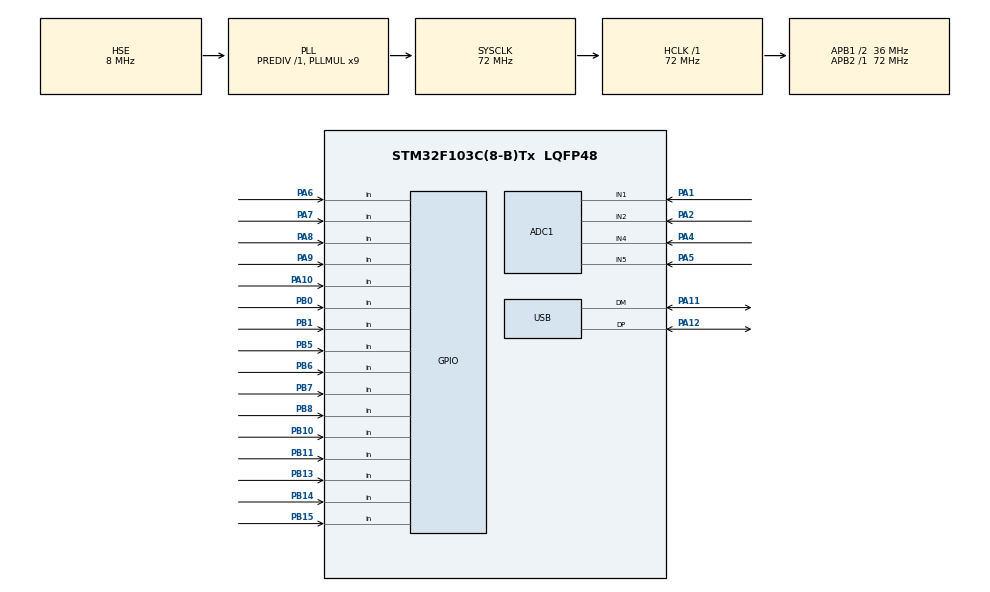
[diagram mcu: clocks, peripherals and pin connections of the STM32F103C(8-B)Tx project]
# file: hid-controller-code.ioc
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ADC1.Channel-0\#ChannelRegularConversion=ADC_CHANNEL_1
ADC1.Channel-1\#ChannelRegularConversion=ADC_CHANNEL_2
ADC1.Channel-2\#ChannelRegularConversion=ADC_CHANNEL_4
ADC1.Channel-3\#ChannelRegularConversion=ADC_CHANNEL_5
ADC1.ContinuousConvMode=ENABLE
ADC1.NbrOfConversion=4
ADC1.NbrOfConversionFlag=1
ADC1.Rank-0\#ChannelRegularConversion=1
ADC1.Rank-1\#ChannelRegularConversion=2
ADC1.Rank-2\#ChannelRegularConversion=3
ADC1.Rank-3\#ChannelRegularConversion=4
ADC1.SamplingTime-0\#ChannelRegularConversion=ADC_SAMPLETIME_13CYCLES_5
ADC1.SamplingTime-1\#ChannelRegularConversion=ADC_SAMPLETIME_13CYCLES_5
ADC1.SamplingTime-2\#ChannelRegularConversion=ADC_SAMPLETIME_13CYCLES_5
ADC1.SamplingTime-3\#ChannelRegularConversion=ADC_SAMPLETIME_13CYCLES_5
ADC1.master=1
Dma.ADC1.0.Direction=DMA_PERIPH_TO_MEMORY
Dma.ADC1.0.Instance=DMA1_Channel1
Dma.ADC1.0.MemDataAlignment=DMA_MDATAALIGN_HALFWORD
Dma.ADC1.0.MemInc=DMA_MINC_ENABLE
Dma.ADC1.0.Mode=DMA_CIRCULAR
Dma.ADC1.0.PeriphDataAlignment=DMA_PDATAALIGN_HALFWORD
Dma.ADC1.0.PeriphInc=DMA_PINC_DISABLE
Dma.ADC1.0.Priority=DMA_PRIORITY_LOW
Dma.Request0=ADC1
Mcu.Family=STM32F1
Mcu.Name=STM32F103C(8-B)Tx
Mcu.Package=LQFP48
NVIC.DMA1_Channel1_IRQn=true\:0\:0\:false\:false\:true\:false\:true\:true
NVIC.PriorityGroup=NVIC_PRIORITYGROUP_4
NVIC.USB_LP_CAN1_RX0_IRQn=true\:0\:0\:false\:false\:true\:false\:true\:true
PA1.Signal=ADCx_IN1
PA10.Signal=GPIO_Input
PA11.Mode=Device
PA11.Signal=USB_DM
PA12.Mode=Device
PA12.Signal=USB_DP
PA13.Mode=Serial_Wire
PA13.Signal=SYS_JTMS-SWDIO
PA14.Mode=Serial_Wire
PA14.Signal=SYS_JTCK-SWCLK
PA2.Signal=ADCx_IN2
PA4.Signal=ADCx_IN4
PA5.Signal=ADCx_IN5
PA6.GPIO_PuPd=GPIO_PULLDOWN
PA6.Signal=GPIO_Input
PA7.Signal=GPIO_Input
PA8.GPIO_PuPd=GPIO_NOPULL
PA8.Signal=GPIO_Input
PA9.GPIO_PuPd=GPIO_NOPULL
PA9.Signal=GPIO_Input
PB0.Signal=GPIO_Input
PB1.Signal=GPIO_Input
PB10.Signal=GPIO_Input
PB11.Signal=GPIO_Input
PB13.Signal=GPIO_Input
PB14.GPIO_PuPd=GPIO_NOPULL
PB14.Signal=GPIO_Input
PB15.Signal=GPIO_Input
PB5.Signal=GPIO_Input
PB6.Signal=GPIO_Input
PB7.Signal=GPIO_Input
PB8.GPIO_PuPd=GPIO_PULLDOWN
PB8.Signal=GPIO_Input
PC14-OSC32_IN.Mode=LSE-External-Oscillator
PC14-OSC32_IN.Signal=RCC_OSC32_IN
PC15-OSC32_OUT.Mode=LSE-External-Oscillator
PC15-OSC32_OUT.Signal=RCC_OSC32_OUT
PD0-OSC_IN.Mode=HSE-External-Oscillator
PD0-OSC_IN.Signal=RCC_OSC_IN
PD1-OSC_OUT.Mode=HSE-External-Oscillator
PD1-OSC_OUT.Signal=RCC_OSC_OUT
ProjectManager.HeapSize=0x200
ProjectManager.StackSize=0x400
ProjectManager.TargetToolchain=Makefile
RCC.ADCPresc=RCC_ADCPCLK2_DIV6
RCC.AHBFreq_Value=72000000
RCC.APB1CLKDivider=RCC_HCLK_DIV2
RCC.APB1Freq_Value=36000000
RCC.APB1TimFreq_Value=72000000
RCC.APB2Freq_Value=72000000
RCC.APB2TimFreq_Value=72000000
RCC.EnbaleCSS=true
RCC.HCLKFreq_Value=72000000
RCC.PLLMUL=RCC_PLL_MUL9
RCC.SYSCLKFreq_VALUE=72000000
RCC.SYSCLKSource=RCC_SYSCLKSOURCE_PLLCLK
RCC.USBFreq_Value=48000000
RCC.USBPrescaler=RCC_USBCLKSOURCE_PLL_DIV1_5
SH.ADCx_IN1.0=ADC1_IN1,IN1
SH.ADCx_IN2.0=ADC1_IN2,IN2
SH.ADCx_IN4.0=ADC1_IN4,IN4
SH.ADCx_IN5.0=ADC1_IN5,IN5
USB_DEVICE.CLASS_NAME_FS=CUSTOM_HID
USB_DEVICE.CUSTOM_HID_FS_BINTERVAL=0x1
USB_DEVICE.VirtualMode=CustomHid
USB_DEVICE.VirtualModeFS=Custom_Hid_FS
VP_RTC_VS_RTC_Activate.Mode=RTC_Enabled
VP_TIM2_VS_ClockSourceINT.Mode=Internal
VP_USB_DEVICE_VS_USB_DEVICE_CUSTOM_HID_FS.Mode=CUSTOM_HID_FS
board=custom

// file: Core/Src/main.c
/* USER CODE BEGIN Header */
/**
  ******************************************************************************
  * @file           : main.c
  * @brief          : Main program body
  ******************************************************************************
  * @attention
  *
  * Copyright (c) 2026 STMicroelectronics.
  * All rights reserved.
  *
  * This software is licensed under terms that can be found in the LICENSE file
  * in the root directory of this software component.
  * If no LICENSE file comes with this software, it is provided AS-IS.
  *
  ******************************************************************************
  */
/* USER CODE END Header */
#include "main.h"
#include "usb_device.h"

/* USER CODE BEGIN Includes */
#include "usbd_customhid.h"
#include "usbd_custom_hid_if.h"
/* USER CODE END Includes */

/* USER CODE BEGIN PTD */
/* Must match the HID report descriptor in usbd_custom_hid_if.c byte for byte. */
typedef struct __attribute__((packed))
{
  uint8_t  x;        /* left  stick X */
  uint8_t  y;        /* left  stick Y */
  uint8_t  lt;        /* triggers, 128 = centred, LT -> 0, RT -> 255 */
  uint8_t  rx;       /* right stick X */
  uint8_t  ry;       /* right stick Y */
  uint8_t  rt;
  uint8_t  hat;      /* d-pad, 8 = centred */
  uint16_t buttons;  /* bit 0..9 = button 1..10 */
} gamepad_report_t;
/* USER CODE END PTD */

/* USER CODE BEGIN PD */
#define JOYSTICK_OVERSAMPLE_BITS 4
#define JOYSTICK_OVERSAMPLE (1U << JOYSTICK_OVERSAMPLE_BITS)
/* USER CODE END PD */

ADC_HandleTypeDef hadc1;
DMA_HandleTypeDef hdma_adc1;

RTC_HandleTypeDef hrtc;

TIM_HandleTypeDef htim2;

/* USER CODE BEGIN PV */
static gamepad_report_t gamepad_report;
static volatile uint16_t joystick_buf[4 * JOYSTICK_OVERSAMPLE] = {0};
/* USER CODE END PV */

void SystemClock_Config(void);
static void MX_GPIO_Init(void);
static void MX_DMA_Init(void);
static void MX_ADC1_Init(void);
static void MX_RTC_Init(void);
static void MX_TIM2_Init(void);
/* USER CODE BEGIN PFP */
static void gamepad_update();

/* USER CODE END PFP */

int main(void)
{

  /* MCU Configuration--------------------------------------------------------*/

  /* Reset of all peripherals, Initializes the Flash interface and the Systick. */
  HAL_Init();

  /* Configure the system clock */
  SystemClock_Config();

  /* Initialize all configured peripherals */
  MX_GPIO_Init();
  MX_DMA_Init();
  MX_ADC1_Init();
  MX_USB_DEVICE_Init();
  MX_RTC_Init();
  MX_TIM2_Init();
  /* USER CODE BEGIN 2 */
  HAL_ADCEx_Calibration_Start(&hadc1);
  HAL_ADC_Start_DMA(&hadc1,(uint32_t*)joystick_buf,4*JOYSTICK_OVERSAMPLE);
  gamepad_report.buttons = 0x0000; // 10101010 temp
  gamepad_report.rt = 128;        // triggers released - 0 would read as LT held
  gamepad_report.lt = 128;        // triggers released - 0 would read as LT held
  gamepad_report.hat = 8;

  /* USER CODE END 2 */

  /* Infinite loop */
  while (1)
  {

    /* USER CODE BEGIN 3 */
    gamepad_update();
    USBD_CUSTOM_HID_SendReport_FS((uint8_t*)&gamepad_report,sizeof(gamepad_report));
  }
  /* USER CODE END 3 */
}

void SystemClock_Config(void)
{
  RCC_OscInitTypeDef RCC_OscInitStruct = {0};
  RCC_ClkInitTypeDef RCC_ClkInitStruct = {0};
  RCC_PeriphCLKInitTypeDef PeriphClkInit = {0};

  /** Initializes the RCC Oscillators according to the specified parameters
  * in the RCC_OscInitTypeDef structure.
  */
  RCC_OscInitStruct.OscillatorType = RCC_OSCILLATORTYPE_LSI|RCC_OSCILLATORTYPE_HSE;
  RCC_OscInitStruct.HSEState = RCC_HSE_ON;
  RCC_OscInitStruct.HSEPredivValue = RCC_HSE_PREDIV_DIV1;
  RCC_OscInitStruct.HSIState = RCC_HSI_ON;
  RCC_OscInitStruct.LSIState = RCC_LSI_ON;
  RCC_OscInitStruct.PLL.PLLState = RCC_PLL_ON;
  RCC_OscInitStruct.PLL.PLLSource = RCC_PLLSOURCE_HSE;
  RCC_OscInitStruct.PLL.PLLMUL = RCC_PLL_MUL9;
  if (HAL_RCC_OscConfig(&RCC_OscInitStruct) != HAL_OK)
  {
    Error_Handler();
  }

  /** Initializes the CPU, AHB and APB buses clocks
  */
  RCC_ClkInitStruct.ClockType = RCC_CLOCKTYPE_HCLK|RCC_CLOCKTYPE_SYSCLK
                              |RCC_CLOCKTYPE_PCLK1|RCC_CLOCKTYPE_PCLK2;
  RCC_ClkInitStruct.SYSCLKSource = RCC_SYSCLKSOURCE_PLLCLK;
  RCC_ClkInitStruct.AHBCLKDivider = RCC_SYSCLK_DIV1;
  RCC_ClkInitStruct.APB1CLKDivider = RCC_HCLK_DIV2;
  RCC_ClkInitStruct.APB2CLKDivider = RCC_HCLK_DIV1;

  if (HAL_RCC_ClockConfig(&RCC_ClkInitStruct, FLASH_LATENCY_2) != HAL_OK)
  {
    Error_Handler();
  }
  PeriphClkInit.PeriphClockSelection = RCC_PERIPHCLK_RTC|RCC_PERIPHCLK_ADC
                              |RCC_PERIPHCLK_USB;
  PeriphClkInit.RTCClockSelection = RCC_RTCCLKSOURCE_LSI;
  PeriphClkInit.AdcClockSelection = RCC_ADCPCLK2_DIV6;
  PeriphClkInit.UsbClockSelection = RCC_USBCLKSOURCE_PLL_DIV1_5;
  if (HAL_RCCEx_PeriphCLKConfig(&PeriphClkInit) != HAL_OK)
  {
    Error_Handler();
  }

  /** Enables the Clock Security System
  */
  HAL_RCC_EnableCSS();
}

static void MX_ADC1_Init(void)
{

  ADC_ChannelConfTypeDef sConfig = {0};

  /** Common config
  */
  hadc1.Instance = ADC1;
  hadc1.Init.ScanConvMode = ADC_SCAN_ENABLE;
  hadc1.Init.ContinuousConvMode = ENABLE;
  hadc1.Init.DiscontinuousConvMode = DISABLE;
  hadc1.Init.ExternalTrigConv = ADC_SOFTWARE_START;
  hadc1.Init.DataAlign = ADC_DATAALIGN_RIGHT;
  hadc1.Init.NbrOfConversion = 4;
  if (HAL_ADC_Init(&hadc1) != HAL_OK)
  {
    Error_Handler();
  }

  /** Configure Regular Channel
  */
  sConfig.Channel = ADC_CHANNEL_1;
  sConfig.Rank = ADC_REGULAR_RANK_1;
  sConfig.SamplingTime = ADC_SAMPLETIME_13CYCLES_5;
  if (HAL_ADC_ConfigChannel(&hadc1, &sConfig) != HAL_OK)
  {
    Error_Handler();
  }

  /** Configure Regular Channel
  */
  sConfig.Channel = ADC_CHANNEL_2;
  sConfig.Rank = ADC_REGULAR_RANK_2;
  if (HAL_ADC_ConfigChannel(&hadc1, &sConfig) != HAL_OK)
  {
    Error_Handler();
  }

  /** Configure Regular Channel
  */
  sConfig.Channel = ADC_CHANNEL_4;
  sConfig.Rank = ADC_REGULAR_RANK_3;
  if (HAL_ADC_ConfigChannel(&hadc1, &sConfig) != HAL_OK)
  {
    Error_Handler();
  }

  /** Configure Regular Channel
  */
  sConfig.Channel = ADC_CHANNEL_5;
  sConfig.Rank = ADC_REGULAR_RANK_4;
  if (HAL_ADC_ConfigChannel(&hadc1, &sConfig) != HAL_OK)
  {
    Error_Handler();
  }

}

static void MX_RTC_Init(void)
{

  /** Initialize RTC Only
  */
  hrtc.Instance = RTC;
  hrtc.Init.AsynchPrediv = RTC_AUTO_1_SECOND;
  hrtc.Init.OutPut = RTC_OUTPUTSOURCE_ALARM;
  if (HAL_RTC_Init(&hrtc) != HAL_OK)
  {
    Error_Handler();
  }

}

static void MX_TIM2_Init(void)
{

  TIM_ClockConfigTypeDef sClockSourceConfig = {0};
  TIM_MasterConfigTypeDef sMasterConfig = {0};

  htim2.Instance = TIM2;
  htim2.Init.Prescaler = 0;
  htim2.Init.CounterMode = TIM_COUNTERMODE_UP;
  htim2.Init.Period = 65535;
  htim2.Init.ClockDivision = TIM_CLOCKDIVISION_DIV1;
  htim2.Init.AutoReloadPreload = TIM_AUTORELOAD_PRELOAD_DISABLE;
  if (HAL_TIM_Base_Init(&htim2) != HAL_OK)
  {
    Error_Handler();
  }
  sClockSourceConfig.ClockSource = TIM_CLOCKSOURCE_INTERNAL;
  if (HAL_TIM_ConfigClockSource(&htim2, &sClockSourceConfig) != HAL_OK)
  {
    Error_Handler();
  }
  sMasterConfig.MasterOutputTrigger = TIM_TRGO_RESET;
  sMasterConfig.MasterSlaveMode = TIM_MASTERSLAVEMODE_DISABLE;
  if (HAL_TIMEx_MasterConfigSynchronization(&htim2, &sMasterConfig) != HAL_OK)
  {
    Error_Handler();
  }

}

static void MX_DMA_Init(void)
{

  /* DMA controller clock enable */
  __HAL_RCC_DMA1_CLK_ENABLE();

  /* DMA interrupt init */
  /* DMA1_Channel1_IRQn interrupt configuration */
  HAL_NVIC_SetPriority(DMA1_Channel1_IRQn, 0, 0);
  HAL_NVIC_EnableIRQ(DMA1_Channel1_IRQn);

}

static void MX_GPIO_Init(void)
{
  GPIO_InitTypeDef GPIO_InitStruct = {0};

  /* GPIO Ports Clock Enable */
  __HAL_RCC_GPIOC_CLK_ENABLE();
  __HAL_RCC_GPIOD_CLK_ENABLE();
  __HAL_RCC_GPIOA_CLK_ENABLE();
  __HAL_RCC_GPIOB_CLK_ENABLE();

  /*Configure GPIO pin : PA6 */
  GPIO_InitStruct.Pin = GPIO_PIN_6;
  GPIO_InitStruct.Mode = GPIO_MODE_INPUT;
  GPIO_InitStruct.Pull = GPIO_PULLDOWN;
  HAL_GPIO_Init(GPIOA, &GPIO_InitStruct);

  /*Configure GPIO pins : PA7 PA8 PA9 PA10 */
  GPIO_InitStruct.Pin = GPIO_PIN_7|GPIO_PIN_8|GPIO_PIN_9|GPIO_PIN_10;
  GPIO_InitStruct.Mode = GPIO_MODE_INPUT;
  GPIO_InitStruct.Pull = GPIO_NOPULL;
  HAL_GPIO_Init(GPIOA, &GPIO_InitStruct);

  /*Configure GPIO pins : PB0 PB1 PB10 PB11
                           PB13 PB14 PB15 PB5
                           PB6 PB7 */
  GPIO_InitStruct.Pin = GPIO_PIN_0|GPIO_PIN_1|GPIO_PIN_10|GPIO_PIN_11
                          |GPIO_PIN_13|GPIO_PIN_14|GPIO_PIN_15|GPIO_PIN_5
                          |GPIO_PIN_6|GPIO_PIN_7;
  GPIO_InitStruct.Mode = GPIO_MODE_INPUT;
  GPIO_InitStruct.Pull = GPIO_NOPULL;
  HAL_GPIO_Init(GPIOB, &GPIO_InitStruct);

  /*Configure GPIO pin : PB8 */
  GPIO_InitStruct.Pin = GPIO_PIN_8;
  GPIO_InitStruct.Mode = GPIO_MODE_INPUT;
  GPIO_InitStruct.Pull = GPIO_PULLDOWN;
  HAL_GPIO_Init(GPIOB, &GPIO_InitStruct);

}

/* USER CODE BEGIN 4 */
static void gamepad_update_joysticks() {
  uint32_t avg_x, avg_y, avg_rx, avg_ry;
  avg_x = avg_y = avg_rx = avg_ry = 0;
  for(uint32_t i = 0; i < JOYSTICK_OVERSAMPLE; i++) {
    avg_x += joystick_buf[i*4];
    avg_y += joystick_buf[i*4+1];
    avg_rx += joystick_buf[i*4+2];
    avg_ry += joystick_buf[i*4+3];
  }
  gamepad_report.x = 255 - (avg_y >> (JOYSTICK_OVERSAMPLE_BITS+4));
  gamepad_report.rx = 255 - (avg_ry >> (JOYSTICK_OVERSAMPLE_BITS+4));
  gamepad_report.y = 255 - (avg_x >> (JOYSTICK_OVERSAMPLE_BITS+4));
  gamepad_report.ry = 255 - (avg_rx >> (JOYSTICK_OVERSAMPLE_BITS+4));
}

// num > 0 && num < 11
static void gamepad_set_button(uint8_t num, uint8_t val) {
  uint16_t bitmask = 0x0001 << (num-1);
  if(val)
    gamepad_report.buttons |= bitmask;
  else
    gamepad_report.buttons &= ~bitmask;
}

static int get_dpad(uint8_t dpad_right, uint8_t dpad_down, uint8_t dpad_left, uint8_t dpad_up) {
  if(dpad_up) {
    if(dpad_right) return 1;
    else if(dpad_left) return 7;
    return 0;
  } else if(dpad_right) {
    return dpad_down + 2; // E - SE
  } else if(dpad_down) {
    return dpad_left + 4; // S - SW
  } else if(dpad_left) {
    return 6;
  }
  return 8; // no direction
}

static void gamepad_update_buttons() {
  gamepad_report.buttons = 0;
  gamepad_set_button(1,(uint8_t)HAL_GPIO_ReadPin(GPIOB,GPIO_PIN_0)); // A
  gamepad_set_button(2,(uint8_t)HAL_GPIO_ReadPin(GPIOA,GPIO_PIN_7)); // B
  gamepad_set_button(5,(uint8_t)HAL_GPIO_ReadPin(GPIOB,GPIO_PIN_1)); // X
  gamepad_set_button(4,(uint8_t)HAL_GPIO_ReadPin(GPIOB,GPIO_PIN_10)); // Y
  gamepad_set_button(7,(uint8_t)HAL_GPIO_ReadPin(GPIOB,GPIO_PIN_14)); // LB
  gamepad_set_button(8,(uint8_t)HAL_GPIO_ReadPin(GPIOB,GPIO_PIN_13)); // RB
  gamepad_report.lt = HAL_GPIO_ReadPin(GPIOB,GPIO_PIN_5) ? 255 : 0;  // LT
  gamepad_report.rt = HAL_GPIO_ReadPin(GPIOB,GPIO_PIN_15) ? 255 : 0;  // RT
  gamepad_set_button(11,(uint8_t)HAL_GPIO_ReadPin(GPIOB,GPIO_PIN_6)); // Back/Share
  gamepad_set_button(12,(uint8_t)HAL_GPIO_ReadPin(GPIOB,GPIO_PIN_11)); // Start
  gamepad_set_button(14,!(uint8_t)HAL_GPIO_ReadPin(GPIOB,GPIO_PIN_8)); // LClick
  gamepad_set_button(15,!(uint8_t)HAL_GPIO_ReadPin(GPIOA,GPIO_PIN_6)); // RClick
  gamepad_report.hat = get_dpad(
              (uint8_t)HAL_GPIO_ReadPin(GPIOB,GPIO_PIN_7),
              (uint8_t)HAL_GPIO_ReadPin(GPIOA,GPIO_PIN_8),
              (uint8_t)HAL_GPIO_ReadPin(GPIOA,GPIO_PIN_9),
              (uint8_t)HAL_GPIO_ReadPin(GPIOA,GPIO_PIN_10)
  );
  return;
}

static void gamepad_update() {
  gamepad_update_joysticks();
  gamepad_update_buttons();
}

/* USER CODE END 4 */

void Error_Handler(void)
{
  __disable_irq();
  while (1)
  {
  }
}
